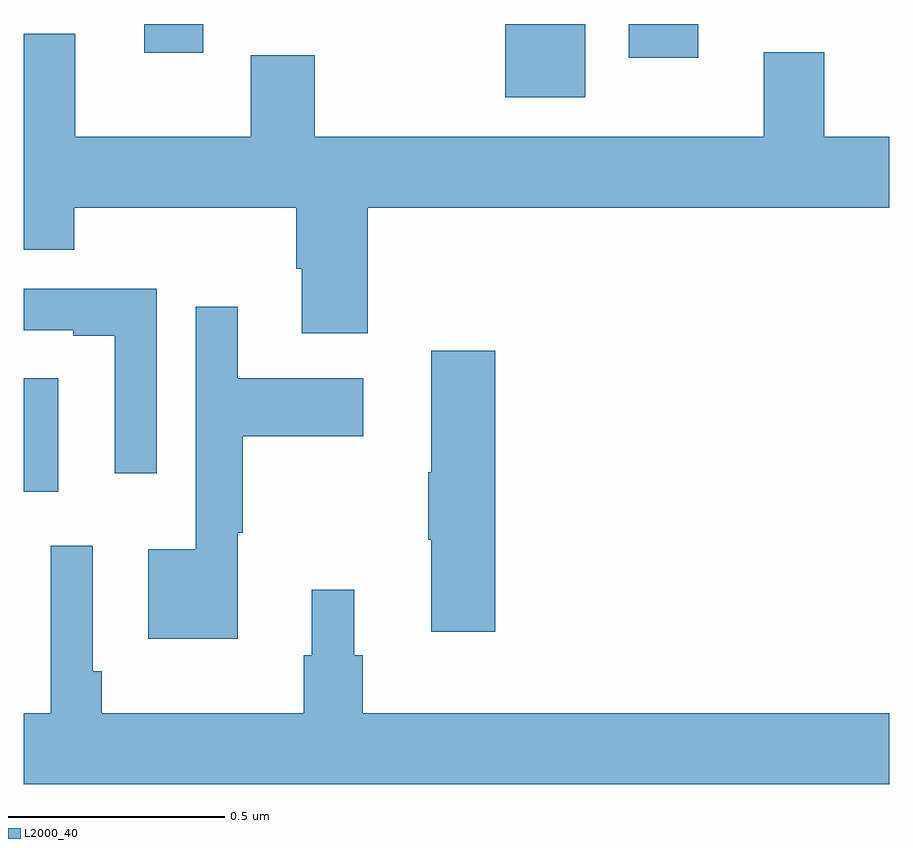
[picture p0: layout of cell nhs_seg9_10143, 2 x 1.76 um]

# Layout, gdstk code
import gdstk
lib = gdstk.Library(unit=1e-6, precision=1e-09)
def R(c, l, rs):  # rectangles x0, y0, x1, y1
    for r in rs: c.add(gdstk.rectangle(r[:2], r[2:], *l))
def P(c, l, *ps):  # polygons
    for p in ps: c.add(gdstk.Polygon(p, *l))
L2000_40 = (2000, 40)

nhs_seg9_10143 = lib.new_cell('nhs_seg9_10143')
R(nhs_seg9_10143, L2000_40, [(239,1206.419,239.08,1206.682), (240.113,1207.331,240.298,1207.5), (240.398,1207.422,240.559,1207.5), (239.279,1207.434,239.415,1207.5)])
P(nhs_seg9_10143, L2000_40, [(239.795,1207.076),(241,1207.076),(241,1207.24),(240.85,1207.24),(240.85,1207.435),(240.71,1207.435),(240.71,1207.24),(239.673,1207.24),(239.673,1207.428),(239.525,1207.428),(239.525,1207.24),(239.119,1207.24),(239.119,1207.478),(239,1207.478),(239,1206.978),(239.117,1206.978),(239.117,1207.076),(239.63,1207.076),(239.63,1206.934),(239.642,1206.934),(239.642,1206.786),(239.795,1206.786)],
  [(239.307,1206.888),(239,1206.888),(239,1206.792),(239.114,1206.792),(239.114,1206.78),(239.21,1206.78),(239.21,1206.462),(239.307,1206.462)],
  [(239.494,1206.324),(239.506,1206.324),(239.506,1206.548),(239.785,1206.548),(239.785,1206.682),(239.494,1206.682),(239.494,1206.847),(239.397,1206.847),(239.397,1206.286),(239.288,1206.286),(239.288,1206.08),(239.494,1206.08)],
  [(240.089,1206.745),(239.942,1206.745),(239.942,1206.464),(239.935,1206.464),(239.935,1206.308),(239.942,1206.308),(239.942,1206.096),(240.089,1206.096)],
  [(241,1205.908),(239.783,1205.908),(239.783,1206.042),(239.764,1206.042),(239.764,1206.193),(239.666,1206.193),(239.666,1206.042),(239.647,1206.042),(239.647,1205.908),(239.18,1205.908),(239.18,1206.004),(239.16,1206.004),(239.16,1206.295),(239.063,1206.295),(239.063,1205.908),(239,1205.908),(239,1205.744),(241,1205.744)])

lib.write_gds('nhs_seg9_10143.gds')
